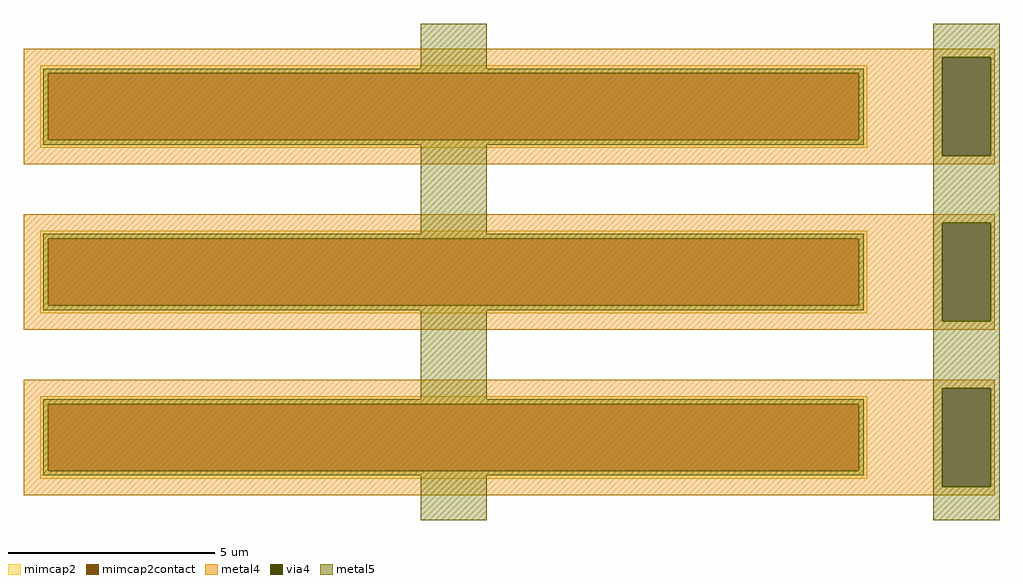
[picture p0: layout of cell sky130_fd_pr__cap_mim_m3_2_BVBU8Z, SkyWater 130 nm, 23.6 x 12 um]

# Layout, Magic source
magic
tech sky130B
magscale 1 2
<< metal4 >>
rect -2349 1039 2349 1080
rect -2349 561 2093 1039
rect 2329 561 2349 1039
rect -2349 520 2349 561
rect -2349 239 2349 280
rect -2349 -239 2093 239
rect 2329 -239 2349 239
rect -2349 -280 2349 -239
rect -2349 -561 2349 -520
rect -2349 -1039 2093 -561
rect 2329 -1039 2349 -561
rect -2349 -1080 2349 -1039
<< via4 >>
rect 2093 561 2329 1039
rect 2093 -239 2329 239
rect 2093 -1039 2329 -561
<< mimcap2 >>
rect -2269 960 1731 1000
rect -2269 640 -2229 960
rect 1691 640 1731 960
rect -2269 600 1731 640
rect -2269 160 1731 200
rect -2269 -160 -2229 160
rect 1691 -160 1731 160
rect -2269 -200 1731 -160
rect -2269 -640 1731 -600
rect -2269 -960 -2229 -640
rect 1691 -960 1731 -640
rect -2269 -1000 1731 -960
<< mimcap2contact >>
rect -2229 640 1691 960
rect -2229 -160 1691 160
rect -2229 -960 1691 -640
<< metal5 >>
rect -429 984 -109 1200
rect 2051 1039 2371 1200
rect -2253 960 1715 984
rect -2253 640 -2229 960
rect 1691 640 1715 960
rect -2253 616 1715 640
rect -429 184 -109 616
rect 2051 561 2093 1039
rect 2329 561 2371 1039
rect 2051 239 2371 561
rect -2253 160 1715 184
rect -2253 -160 -2229 160
rect 1691 -160 1715 160
rect -2253 -184 1715 -160
rect -429 -616 -109 -184
rect 2051 -239 2093 239
rect 2329 -239 2371 239
rect 2051 -561 2371 -239
rect -2253 -640 1715 -616
rect -2253 -960 -2229 -640
rect 1691 -960 1715 -640
rect -2253 -984 1715 -960
rect -429 -1200 -109 -984
rect 2051 -1039 2093 -561
rect 2329 -1039 2371 -561
rect 2051 -1200 2371 -1039
<< properties >>
string FIXED_BBOX -2349 520 1811 1080
string gencell sky130_fd_pr__cap_mim_m3_2
string library sky130
string parameters w 20.00 l 2.00 val 88.36 carea 2.00 cperi 0.19 nx 1 ny 3 dummy 0 square 0 lmin 2.00 wmin 2.00 lmax 30.0 wmax 30.0 dc 0 bconnect 1 tconnect 1 ccov 100
<< end >>
